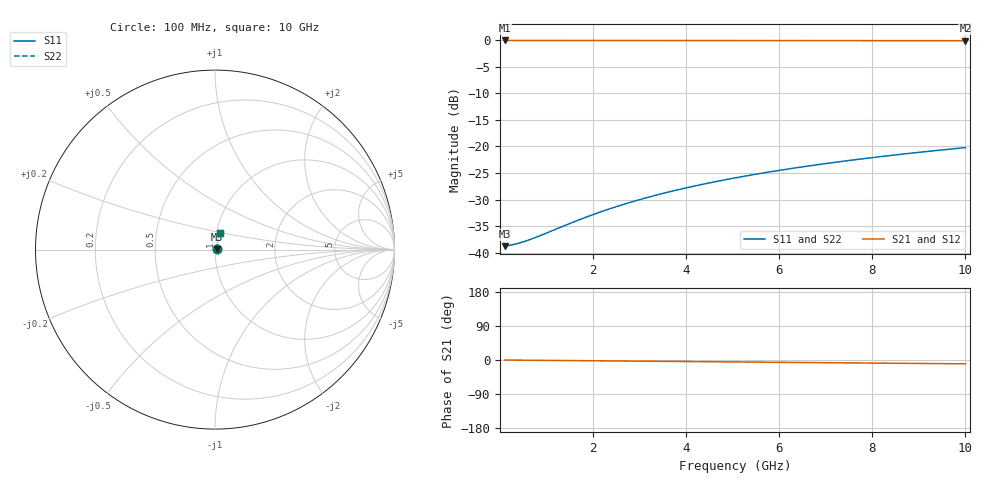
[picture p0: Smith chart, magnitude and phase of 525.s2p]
# Hz S RI R 50.00
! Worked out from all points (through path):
!   100 points, 100 MHz to 10 GHz, reference 50 ohm
!   highest |S21| = -0.10 dB at 100 MHz (marker M1); lowest = -0.2 dB at 10 GHz (marker M2)
!   group delay of S21, straight-line fit = 2.8 ps
!   lowest |S11| = -38.7 dB at 100 MHz (marker M3), VSWR 1.02, Z = 51.2 + j0.0977 ohm
!   |S11| at or under -10 dB: start of sweep to end of sweep
!   |S22| runs from -38.7 to -20.2 dB; largest |S21 - S12| = 0
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1e8  0.0115 0.000955  0.9885 -0.00175  0.9885 -0.00175  0.0115 0.000955
3e8  0.0117 0.00286  0.9883 -0.00524  0.9883 -0.00524  0.0117 0.00286
4e8  0.0117 0.00382  0.9883 -0.00698  0.9883 -0.00698  0.0117 0.00382
6e8  0.0118 0.00572  0.9881 -0.0105  0.9881 -0.0105  0.0118 0.00572
9e8  0.012 0.00858  0.988 -0.0157  0.988 -0.0157  0.012 0.00858
1.5e9  0.0124 0.0143  0.9876 -0.0262  0.9876 -0.0262  0.0124 0.0143
1.8e9  0.0126 0.0171  0.9873 -0.0314  0.9873 -0.0314  0.0126 0.0171
2.2e9  0.0129 0.0209  0.9869 -0.0384  0.9869 -0.0384  0.0129 0.0209
2.6e9  0.0133 0.0247  0.9865 -0.0453  0.9865 -0.0453  0.0133 0.0247
3e9  0.0137 0.0285  0.986 -0.0523  0.986 -0.0523  0.0137 0.0285
3.4e9  0.0142 0.0323  0.9854 -0.0592  0.9854 -0.0592  0.0142 0.0323
3.8e9  0.0147 0.0361  0.9848 -0.0662  0.9848 -0.0662  0.0147 0.0361
4.2e9  0.0153 0.0398  0.9841 -0.0731  0.9841 -0.0731  0.0153 0.0398
4.6e9  0.0159 0.0436  0.9834 -0.08  0.9834 -0.08  0.0159 0.0436
5.1e9  0.0168 0.0483  0.9824 -0.0886  0.9824 -0.0886  0.0168 0.0483
5.5e9  0.0175 0.052  0.9815 -0.0955  0.9815 -0.0955  0.0175 0.052
5.9e9  0.0183 0.0557  0.9806 -0.1024  0.9806 -0.1024  0.0183 0.0557
6.7e9  0.02 0.0631  0.9785 -0.1161  0.9785 -0.1161  0.02 0.0631
7.5e9  0.022 0.0704  0.9762 -0.1298  0.9762 -0.1298  0.022 0.0704
8.4e9  0.0244 0.0786  0.9733 -0.1451  0.9733 -0.1451  0.0244 0.0786
9.2e9  0.0268 0.0858  0.9705 -0.1586  0.9705 -0.1586  0.0268 0.0858
1e10  0.0294 0.0929  0.9674 -0.1721  0.9674 -0.1721  0.0294 0.0929
